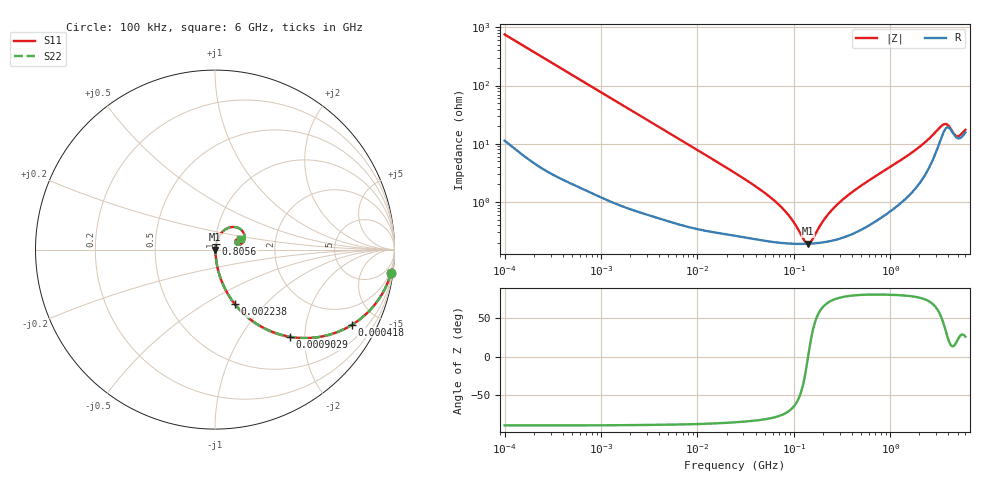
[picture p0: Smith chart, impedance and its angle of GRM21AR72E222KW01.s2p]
!Murata Part Number: GRM21AR72E222KW01
!These Parameters are Measured in Series Mode Connection
!Data Generated on Mar 30, 2021
!  o--ll--o
!Port1  Port2
!  o------o
!Operation Temp=25[degC], DC Bias Voltage=0[V]
!Freq. Start=100[kHz] Stop=6[GHz] 401[Steps]
# Hz S RI R 50
!Freq.(Hz) S11(Real) S11(Imag) S21(Real) S21(Imag) S12(Real) S12(Imag) S22(Real) S22(Imag)
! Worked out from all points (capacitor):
!   401 points, 100 kHz to 6 GHz, reference 50 ohm
!   read as one part in series: C = 2.11 nF near 105.7 kHz
!   lowest |Z| = 192 mohm at 138.6 MHz (marker M1)
!   series resonance near 140.4 MHz, so ESL is about 610 pH
!   S11 on the Smith chart (normalised r, x): 100 kHz: 1, -15; 418 kHz: 1.05, -3.63; 902.9 kHz: 1.03, -1.69; 2.238 MHz: 1.01, -0.69; 805.6 MHz: 1.01, +0.06; 6 GHz: 1.31, +0.15
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100000  0.9808 -0.1301  0.0192 0.1301  0.0192 0.1301  0.9808 -0.1301
228224  0.9139 -0.2745  0.0861 0.2745  0.0861 0.2745  0.9139 -0.2745
417984  0.7646 -0.4179  0.2354 0.4179  0.2354 0.4179  0.7646 -0.4179
631452  0.5913 -0.4846  0.4087 0.4846  0.4087 0.4846  0.5913 -0.4846
902880  0.4183 -0.4857  0.5817 0.4857  0.5817 0.4857  0.4183 -0.4857
1441125  0.2245 -0.4086  0.7755 0.4086  0.7755 0.4086  0.2245 -0.4086
2237833  0.1106 -0.3035  0.8894 0.3035  0.8894 0.3035  0.1106 -0.3035
3987316  0.0409 -0.185  0.9591 0.185  0.9591 0.185  0.0409 -0.185
2.517799e7  0.00353 -0.0303  0.9965 0.0303  0.9965 0.0303  0.00353 -0.0303
7.160533e7  0.00206 -0.00837  0.9979 0.00837  0.9979 0.00837  0.00206 -0.00837
9.171783e7  0.00195 -0.00508  0.998 0.00508  0.998 0.00508  0.00195 -0.00508
1.385589e8  0.00191 -0.00015  0.9981 0.00015  0.9981 0.00015  0.00191 -0.00015
1.546735e8  0.00193 0.00113  0.9981 -0.00113  0.9981 -0.00113  0.00193 0.00113
2.036431e8  0.00205 0.00442  0.9979 -0.00442  0.9979 -0.00442  0.00205 0.00442
2.755935e8  0.00233 0.00842  0.9977 -0.00842  0.9977 -0.00842  0.00233 0.00842
8.056356e8  0.00633 0.0313  0.9937 -0.0313  0.9937 -0.0313  0.00633 0.0313
9.76689e8  0.00814 0.0381  0.9919 -0.0381  0.9919 -0.0381  0.00814 0.0381
2.2912e9  0.0377 0.0954  0.9623 -0.0954  0.9623 -0.0954  0.0377 0.0954
3.461335e9  0.1391 0.1154  0.8609 -0.1154  0.8609 -0.1154  0.1391 0.1154
3.863894e9  0.1658 0.0702  0.8342 -0.0702  0.8342 -0.0702  0.1658 0.0702
4.949184e9  0.113 0.0378  0.887 -0.0378  0.887 -0.0378  0.113 0.0378
6e9  0.1389 0.0563  0.8611 -0.0563  0.8611 -0.0563  0.1389 0.0563
